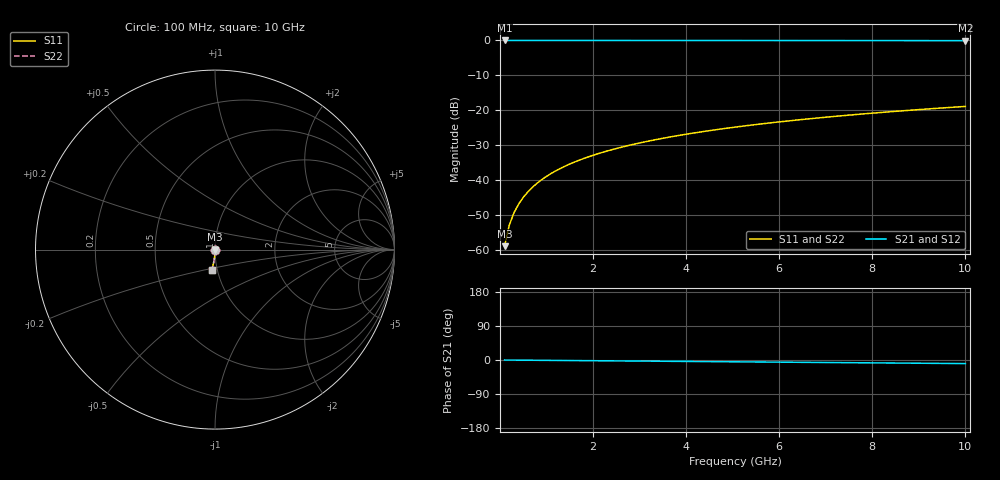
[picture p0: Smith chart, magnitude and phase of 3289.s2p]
# Hz S RI R 50.00
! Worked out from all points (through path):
!   100 points, 100 MHz to 10 GHz, reference 50 ohm
!   highest |S21| = 0.00 dB at 100 MHz (marker M1); lowest = -0.1 dB at 10 GHz (marker M2)
!   group delay of S21, straight-line fit = 2.63 ps
!   lowest |S11| = -58.9 dB at 100 MHz (marker M3), VSWR 1.00, Z = 50 - j0.114 ohm
!   |S11| at or under -10 dB: start of sweep to end of sweep
!   |S22| runs from -58.9 to -18.9 dB; largest |S21 - S12| = 0
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1e8  8.15e-05 -0.00114  0.9999 -0.00164  0.9999 -0.00164  8.15e-05 -0.00114
2e8  7.52e-05 -0.00227  0.9999 -0.00328  0.9999 -0.00328  7.52e-05 -0.00227
3e8  6.5e-05 -0.00341  0.9999 -0.00492  0.9999 -0.00492  6.5e-05 -0.00341
4e8  5.09e-05 -0.00454  0.9999 -0.00656  0.9999 -0.00656  5.09e-05 -0.00454
5e8  3.31e-05 -0.00568  0.9999 -0.0082  0.9999 -0.0082  3.31e-05 -0.00568
6e8  1.16e-05 -0.00681  0.9998 -0.00984  0.9998 -0.00984  1.16e-05 -0.00681
7e8  -1.37e-05 -0.00795  0.9998 -0.0115  0.9998 -0.0115  -1.37e-05 -0.00795
8e8  -4.28e-05 -0.00908  0.9998 -0.0131  0.9998 -0.0131  -4.28e-05 -0.00908
9e8  -7.56e-05 -0.0102  0.9997 -0.0148  0.9997 -0.0148  -7.56e-05 -0.0102
1.1e9  -0.000152 -0.0125  0.9997 -0.018  0.9997 -0.018  -0.000152 -0.0125
1.4e9  -0.000296 -0.0159  0.9995 -0.023  0.9995 -0.023  -0.000296 -0.0159
1.8e9  -0.000539 -0.0204  0.9992 -0.0295  0.9992 -0.0295  -0.000539 -0.0204
2.1e9  -0.000761 -0.0239  0.999 -0.0345  0.999 -0.0345  -0.000761 -0.0239
2.5e9  -0.00111 -0.0284  0.9986 -0.041  0.9986 -0.041  -0.00111 -0.0284
2.9e9  -0.00152 -0.0329  0.9982 -0.0476  0.9982 -0.0476  -0.00152 -0.0329
3.4e9  -0.00211 -0.0386  0.9976 -0.0558  0.9976 -0.0558  -0.00211 -0.0386
4.2e9  -0.00326 -0.0477  0.9963 -0.0689  0.9963 -0.0689  -0.00326 -0.0477
5.1e9  -0.00484 -0.0578  0.9946 -0.0837  0.9946 -0.0837  -0.00484 -0.0578
5.9e9  -0.0065 -0.0669  0.9929 -0.0968  0.9929 -0.0968  -0.0065 -0.0669
6.7e9  -0.0084 -0.0758  0.9908 -0.1098  0.9908 -0.1098  -0.0084 -0.0758
8.4e9  -0.0132 -0.0947  0.9857 -0.1374  0.9857 -0.1374  -0.0132 -0.0947
1e10  -0.0187 -0.1122  0.9798 -0.1632  0.9798 -0.1632  -0.0187 -0.1122
